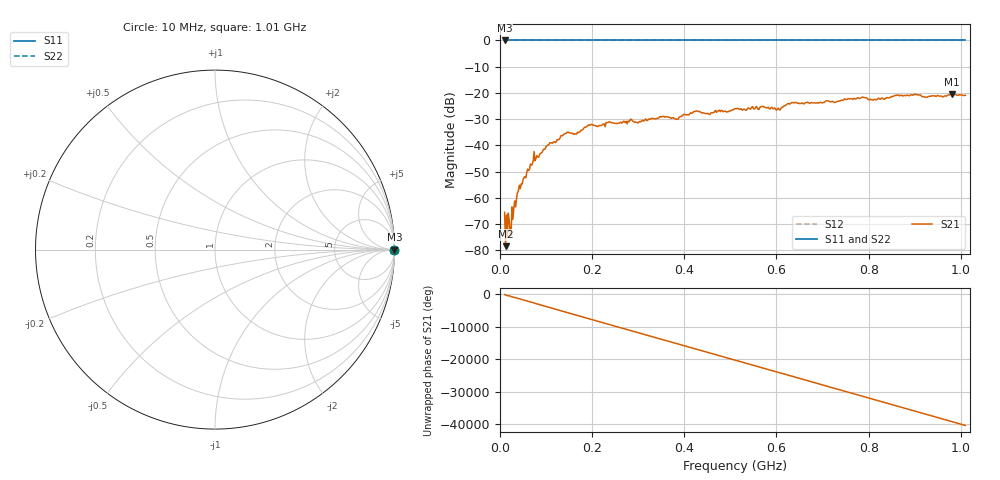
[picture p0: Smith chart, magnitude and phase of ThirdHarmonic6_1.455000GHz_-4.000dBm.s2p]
! 8/16/2025 4:53:09 PM
! C:\ANRITSUVNA\TEMP\TEMP.S2P
! CHANNEL.1
! TR.MEASUREMENT
! RAW.DATA
! RF.CORRECTION.OFF
! AVERAGING.OFF
! IF.BANDWIDTH: 5KHZ
! SWEEPTYPE:  FREQ.SWEEP(Linear)
! Reference Plane Port Info
! PORT:  PORT1  PORT2
! DISTANCE:  0  m  0  m
! TIME:  0  s  0  s
! PHASE.OFFSET:  0  deg.  0  deg.
! LOSS:  0  dB  0  dB
! REF.LOSS:  0  dB  0  dB
! REF.FREQ:  0  Hz  0  Hz
! Power Info
! POWER:  -20  dBm  -20  dBm
! EFF.POWER:  -20  dBm  -20  dBm
! SOURCE.ATTEN:  0  dB  0  dB
! TEST.ATTEN:  0  dB  0  dB
# GHZ S RI R 50.0
! FREQ.GHZ  S11RE  S11IM  S21RE  S21IM  S12RE  S12IM  S22RE  S22IM
!; PortSelection: Port_12
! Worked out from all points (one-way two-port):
!   501 points, 10 MHz to 1.01 GHz, reference 50 ohm
!   highest |S21| = -20.50 dB at 980 MHz (marker M1); lowest = -78.4 dB at 12 MHz (marker M2)
!   lowest |S11| = 0.0 dB at 10 MHz (marker M3)
!   |S11| at or under -10 dB: nowhere
!   |S22| runs from 0.0 to 0.0 dB; largest |S21 - S12| = 1.1
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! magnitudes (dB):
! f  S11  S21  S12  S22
! 10 MHz  0.0  -65.5  0.0  0.0
! 12 MHz  0.0  -78.4  0.0  0.0
! 18 MHz  0.0  -65.8  0.0  0.0
! 20 MHz  0.0  -68.6  0.0  0.0
! 22 MHz  0.0  -73.2  0.0  0.0
! 26 MHz  0.0  -63.4  0.0  0.0
! 30 MHz  0.0  -63.8  0.0  0.0
! 42 MHz  0.0  -55.2  0.0  0.0
! 76 MHz  0.0  -45.8  0.0  0.0
! 142 MHz  0.0  -35.4  0.0  0.0
! 178 MHz  0.0  -34.1  0.0  0.0
! 196 MHz  0.0  -32.2  0.0  0.0
! 344 MHz  0.0  -29.6  0.0  0.0
! 384 MHz  0.0  -30.0  0.0  0.0
! 424 MHz  0.0  -27.0  0.0  0.0
! 510 MHz  0.0  -26.0  0.0  0.0
! 604 MHz  0.0  -25.8  0.0  0.0
! 636 MHz  0.0  -23.7  0.0  0.0
! 678 MHz  0.0  -23.8  0.0  0.0
! 844 MHz  0.0  -21.9  0.0  0.0
! 980 MHz  0.0  -20.5  0.0  0.0
! 1.01 GHz  0.0  -20.9  0.0  0.0
